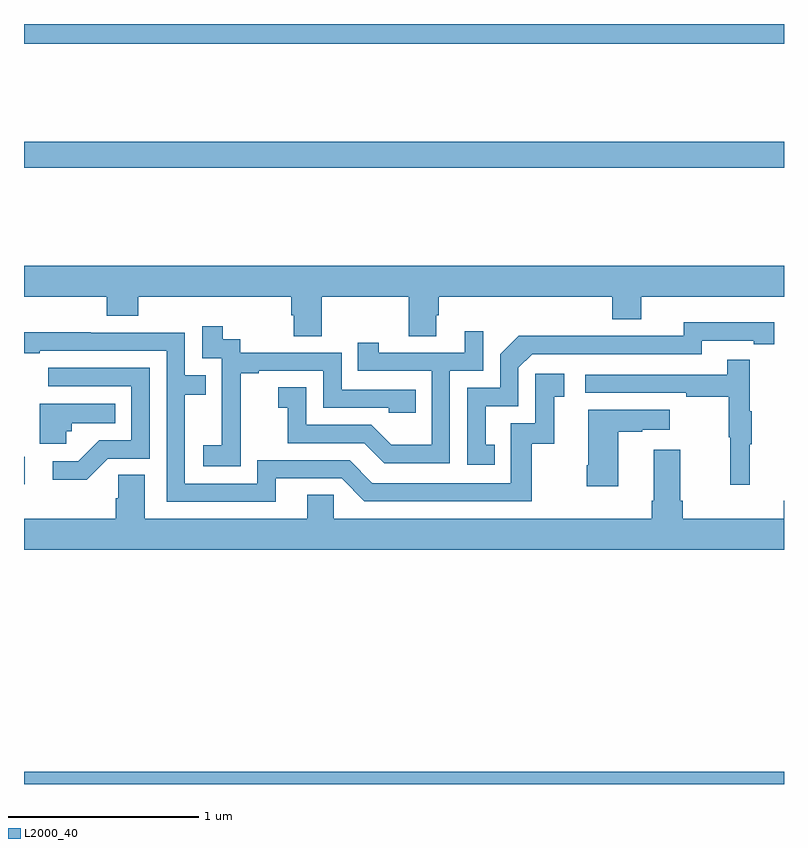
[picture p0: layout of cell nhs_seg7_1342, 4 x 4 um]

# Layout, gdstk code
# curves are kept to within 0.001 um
import gdstk
lib = gdstk.Library(unit=1e-6, precision=1e-09)
def R(c, l, rs):  # rectangles x0, y0, x1, y1
    for r in rs: c.add(gdstk.rectangle(r[:2], r[2:], *l))
def P(c, l, *ps):  # polygons
    for p in ps: c.add(gdstk.Polygon(p, *l))
L2000_40 = (2000, 40)

nhs_seg7_1342 = lib.new_cell('nhs_seg7_1342')
R(nhs_seg7_1342, L2000_40, [(203,1050,207,1050.064), (203,1051.578,203.005,1051.722), (203,1053.244,207,1053.38), (203,1053.896,207,1054)])
P(nhs_seg7_1342, L2000_40, [(204.567,1052.564),(205.024,1052.564),(205.024,1052.356),(205.171,1052.356),(205.171,1052.466),(205.184,1052.466),(205.184,1052.564),(206.096,1052.564),(206.096,1052.447),(206.248,1052.447),(206.248,1052.564),(207,1052.564),(207,1052.728),(203,1052.728),(203,1052.564),(203.435,1052.564),(203.435,1052.465),(203.6,1052.465),(203.6,1052.564),(204.407,1052.564),(204.407,1052.466),(204.419,1052.466),(204.419,1052.356),(204.567,1052.356)],
  [(205.478,1051.785),(205.429,1051.785),(205.429,1051.989),(205.602,1051.989),(205.602,1052.19),(205.674,1052.262),(206.568,1052.262),(206.568,1052.334),(206.84,1052.334),(206.84,1052.314),(206.948,1052.314),(206.948,1052.43),(206.472,1052.431),(206.472,1052.358),(206.012,1052.358),(206.012,1052.36),(205.604,1052.36),(205.506,1052.262),(205.506,1052.085),(205.332,1052.085),(205.332,1051.68),(205.478,1051.68)],
  [(204.141,1051.879),(204.14,1051.879),(204.14,1052.163),(204.235,1052.163),(204.235,1052.175),(204.576,1052.175),(204.576,1051.98),(204.921,1051.98),(204.921,1051.953),(205.061,1051.953),(205.061,1052.076),(204.672,1052.076),(204.672,1052.271),(204.138,1052.271),(204.138,1052.34),(204.046,1052.34),(204.046,1052.41),(203.937,1052.41),(203.937,1052.241),(204.042,1052.241),(204.042,1052.012),(204.041,1052.012),(204.041,1051.783),(203.943,1051.783),(203.943,1051.673),(204.141,1051.673)],
  [(205.242,1052.175),(205.416,1052.175),(205.416,1052.383),(205.319,1052.383),(205.319,1052.271),(204.868,1052.271),(204.868,1052.323),(204.757,1052.323),(204.757,1052.175),(205.146,1052.175),(205.146,1051.786),(204.932,1051.786),(204.828,1051.89),(204.486,1051.89),(204.486,1052.089),(204.339,1052.089),(204.339,1051.979),(204.388,1051.979),(204.388,1051.794),(204.791,1051.794),(204.896,1051.689),(205.242,1051.689)],
  [(204.325,1051.608),(204.672,1051.608),(204.792,1051.488),(205.672,1051.488),(205.672,1051.791),(205.79,1051.791),(205.79,1052.037),(205.843,1052.037),(205.843,1052.158),(205.692,1052.158),(205.692,1051.899),(205.563,1051.899),(205.563,1051.584),(204.834,1051.584),(204.714,1051.704),(204.228,1051.704),(204.228,1051.581),(203.847,1051.581),(203.847,1052.05),(203.957,1052.05),(203.957,1052.151),(203.847,1052.151),(203.847,1052.376),(203.351,1052.376),(203.351,1052.378),(203,1052.378),(203,1052.268),(203.083,1052.268),(203.083,1052.28),(203.751,1052.28),(203.751,1051.485),(204.325,1051.485)],
  [(206.819,1051.787),(206.83,1051.787),(206.83,1051.961),(206.819,1051.961),(206.819,1052.233),(206.701,1052.233),(206.701,1052.154),(205.953,1052.154),(205.953,1052.058),(206.485,1052.058),(206.485,1052.038),(206.709,1052.038),(206.709,1051.824),(206.716,1051.824),(206.716,1051.575),(206.819,1051.575)],
  [(203.442,1051.713),(203.661,1051.713),(203.661,1052.19),(203.127,1052.19),(203.127,1052.094),(203.565,1052.094),(203.565,1051.809),(203.396,1051.809),(203.285,1051.698),(203.151,1051.698),(203.151,1051.601),(203.329,1051.601)],
  [(203.223,1051.857),(203.25,1051.857),(203.25,1051.898),(203.48,1051.898),(203.48,1052.002),(203.084,1052.002),(203.084,1051.79),(203.223,1051.79)],
  [(206.128,1051.855),(206.255,1051.855),(206.255,1051.865),(206.398,1051.865),(206.398,1051.969),(205.97,1051.969),(205.97,1051.678),(205.963,1051.678),(205.963,1051.566),(206.128,1051.566)],
  [(207,1051.492),(206.999,1051.492),(206.999,1051.396),(206.468,1051.396),(206.468,1051.492),(206.455,1051.492),(206.455,1051.759),(206.315,1051.759),(206.315,1051.492),(206.303,1051.492),(206.303,1051.396),(204.63,1051.396),(204.63,1051.523),(204.491,1051.523),(204.491,1051.396),(203.635,1051.396),(203.635,1051.628),(203.496,1051.628),(203.496,1051.505),(203.483,1051.505),(203.483,1051.396),(203,1051.396),(203,1051.232),(207,1051.232)])

lib.write_gds('nhs_seg7_1342.gds')
